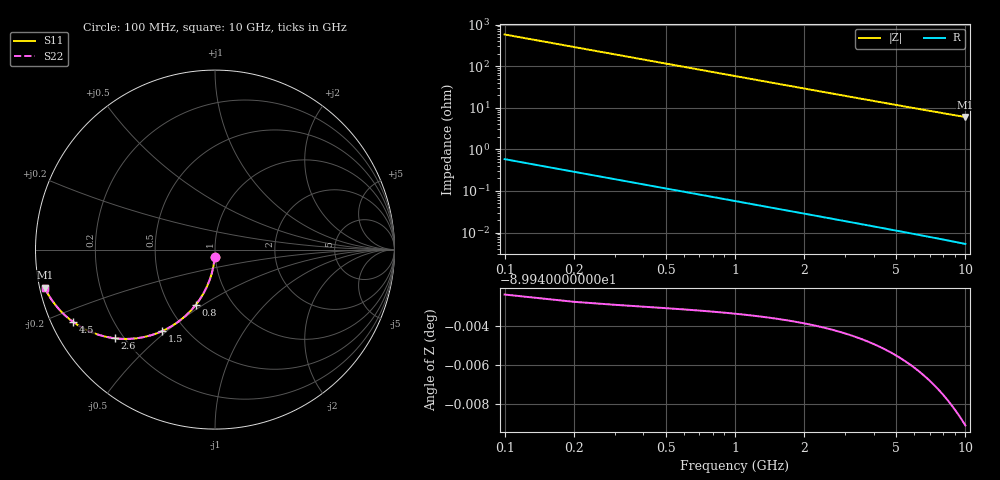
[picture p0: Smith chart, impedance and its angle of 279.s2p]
# Hz S RI R 50.00
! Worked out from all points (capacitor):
!   100 points, 100 MHz to 10 GHz, reference 50 ohm
!   read as one part in shunt: C = 2.75 pF near 100 MHz
!   lowest |Z| = 5.98 ohm at 10 GHz (marker M1)
!   S11 on the Smith chart (normalised r, x): 100 MHz: 0.99, -0.09; 800 MHz: 0.68, -0.47; 1.5 GHz: 0.37, -0.48; 2.6 GHz: 0.17, -0.37; 4.5 GHz: 0.06, -0.24; 10 GHz: 0.01, -0.11
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1e8  -0.00189 -0.0431  0.9981 -0.0432  0.9981 -0.0432  -0.00189 -0.0431
2e8  -0.00748 -0.0857  0.9925 -0.086  0.9925 -0.086  -0.00748 -0.0857
3e8  -0.0166 -0.1273  0.9833 -0.1278  0.9833 -0.1278  -0.0166 -0.1273
4e8  -0.0292 -0.1676  0.9708 -0.1682  0.9708 -0.1682  -0.0292 -0.1676
5e8  -0.0448 -0.2061  0.9551 -0.2068  0.9551 -0.2068  -0.0448 -0.2061
6e8  -0.0632 -0.2425  0.9367 -0.2434  0.9367 -0.2434  -0.0632 -0.2425
8e8  -0.107 -0.3081  0.8929 -0.3093  0.8929 -0.3093  -0.107 -0.3081
9e8  -0.1317 -0.337  0.8683 -0.3384  0.8683 -0.3384  -0.1317 -0.337
1.1e9  -0.1846 -0.3866  0.8154 -0.3883  0.8154 -0.3883  -0.1846 -0.3866
1.3e9  -0.2401 -0.4257  0.7599 -0.4277  0.7599 -0.4277  -0.2401 -0.4257
1.5e9  -0.296 -0.4548  0.704 -0.4571  0.704 -0.4571  -0.296 -0.4548
1.8e9  -0.3769 -0.4827  0.623 -0.4855  0.623 -0.4855  -0.3769 -0.4827
2.2e9  -0.4744 -0.4971  0.5255 -0.5005  0.5255 -0.5005  -0.4744 -0.4971
2.6e9  -0.5574 -0.4942  0.4425 -0.4982  0.4425 -0.4982  -0.5574 -0.4942
3e9  -0.6263 -0.481  0.3737 -0.4856  0.3737 -0.4856  -0.6263 -0.481
3.4e9  -0.6826 -0.4623  0.3173 -0.4676  0.3173 -0.4676  -0.6826 -0.4623
3.9e9  -0.7387 -0.4358  0.2612 -0.4419  0.2612 -0.4419  -0.7387 -0.4358
4.5e9  -0.7899 -0.4033  0.21 -0.4103  0.21 -0.4103  -0.7899 -0.4033
5.1e9  -0.8284 -0.3725  0.1715 -0.3805  0.1715 -0.3805  -0.8284 -0.3725
6.7e9  -0.8927 -0.3036  0.1072 -0.3142  0.1072 -0.3142  -0.8927 -0.3036
8.4e9  -0.929 -0.2494  0.0708 -0.2629  0.0708 -0.2629  -0.929 -0.2494
1e10  -0.9489 -0.2114  0.0509 -0.2275  0.0509 -0.2275  -0.9489 -0.2114
